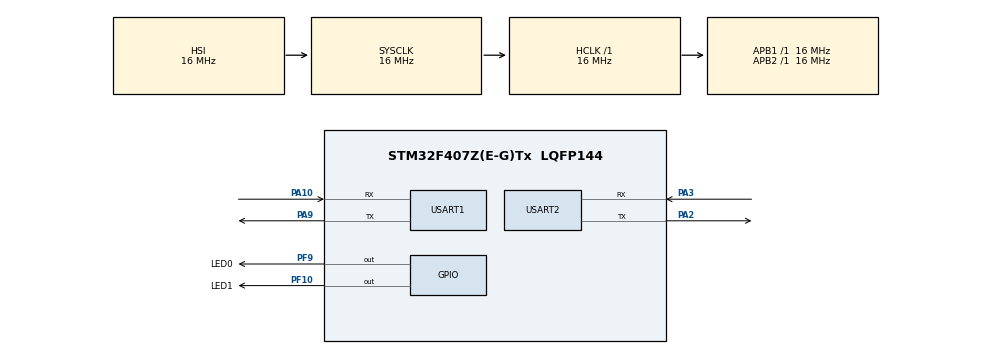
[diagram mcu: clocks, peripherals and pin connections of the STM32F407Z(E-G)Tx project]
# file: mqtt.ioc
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Dma.Request0=USART2_RX
Dma.USART2_RX.0.Direction=DMA_PERIPH_TO_MEMORY
Dma.USART2_RX.0.FIFOMode=DMA_FIFOMODE_DISABLE
Dma.USART2_RX.0.Instance=DMA1_Stream5
Dma.USART2_RX.0.MemDataAlignment=DMA_MDATAALIGN_BYTE
Dma.USART2_RX.0.MemInc=DMA_MINC_ENABLE
Dma.USART2_RX.0.Mode=DMA_NORMAL
Dma.USART2_RX.0.PeriphDataAlignment=DMA_PDATAALIGN_BYTE
Dma.USART2_RX.0.PeriphInc=DMA_PINC_DISABLE
Dma.USART2_RX.0.Priority=DMA_PRIORITY_LOW
Mcu.Family=STM32F4
Mcu.Name=STM32F407Z(E-G)Tx
Mcu.Package=LQFP144
NVIC.DMA1_Stream5_IRQn=true\:0\:0\:false\:false\:true\:false\:true
NVIC.PriorityGroup=NVIC_PRIORITYGROUP_4
NVIC.USART1_IRQn=true\:0\:0\:false\:false\:true\:true\:true
NVIC.USART2_IRQn=true\:0\:0\:false\:false\:true\:true\:true
PA10.Mode=Asynchronous
PA10.Signal=USART1_RX
PA2.Mode=Asynchronous
PA2.Signal=USART2_TX
PA3.Mode=Asynchronous
PA3.Signal=USART2_RX
PA9.Mode=Asynchronous
PA9.Signal=USART1_TX
PF10.GPIO_Label=LED1
PF10.Signal=GPIO_Output
PF9.GPIO_Label=LED0
PF9.Signal=GPIO_Output
ProjectManager.HeapSize=0x200
ProjectManager.StackSize=0x400
ProjectManager.TargetToolchain=MDK-ARM V5.27
RCC.AHBFreq_Value=16000000
RCC.APB1Freq_Value=16000000
RCC.APB2Freq_Value=16000000
RCC.CortexFreq_Value=16000000
RCC.HSE_VALUE=25000000
RCC.HSI_VALUE=16000000
RCC.LSE_VALUE=32768
RCC.SYSCLKFreq_VALUE=16000000
RCC.VCOOutputFreq_Value=192000000
USART1.VirtualMode=VM_ASYNC
USART2.VirtualMode=VM_ASYNC
board=custom

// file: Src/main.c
/* USER CODE BEGIN Header */
/**
  ******************************************************************************
  * @file           : main.c
  * @brief          : Main program body
  ******************************************************************************
  * @attention
  *
  * <h2><center>&copy; Copyright (c) 2021 STMicroelectronics.
  * All rights reserved.</center></h2>
  *
  * This software component is licensed by ST under BSD 3-Clause license,
  * the "License"; You may not use this file except in compliance with the
  * License. You may obtain a copy of the License at:
  *                        opensource.org/licenses/BSD-3-Clause
  *
  ******************************************************************************
  */
/* USER CODE END Header */

#include "main.h"
#include "dma.h"
#include "usart.h"
#include "gpio.h"

/* USER CODE BEGIN Includes */
#include "esp8266.h"
#include "string.h"
#include "mqtt.h"
/* USER CODE END Includes */

void SystemClock_Config(void);

/* USER CODE BEGIN 0 */
/*收到主题后的回调函数，用户可以在这里进行对应主题的相关操作，如开灯，光灯等*/
void mqtt_publish_callback(uint8_t *topic, uint16_t topicLen, uint8_t *msg, uint16_t msgLen)
{
	HAL_UART_Transmit(&huart1, topic, topicLen, HAL_MAX_DELAY);
	HAL_UART_Transmit(&huart1, "\r\n", 2, HAL_MAX_DELAY);
	HAL_UART_Transmit(&huart1, msg, msgLen, HAL_MAX_DELAY);
	HAL_UART_Transmit(&huart1, "\r\n", 2, HAL_MAX_DELAY);
	if(msgLen==2 && !memcmp(msg,"ON",2))
		HAL_GPIO_WritePin(LED1_GPIO_Port,LED1_Pin,GPIO_PIN_RESET);
	if(msgLen==3 && !memcmp(msg,"OFF",3))
		HAL_GPIO_WritePin(LED1_GPIO_Port,LED1_Pin,GPIO_PIN_SET);
}
void mqtt_init(mqtt_client_t *client,uint8_t* clientId,uint8_t* mqtt_write_buff)
{
	HAL_UART_Receive_DMA(&huart2,dma_buff,BUFFER_SIZE);/*鍚姩涓插彛鎺ユ敹*/
	client->mqtt_client_id = clientId;
	client->mqtt_write_buf = mqtt_write_buff;
	client->mqtt_read_buf = dma_buff;
	client->mqtt_read_buf_size = BUFFER_SIZE;
	client->mqtt_keep_alive_interval = 10;
}
/* USER CODE END 0 */

int main(void)
{
  /* USER CODE BEGIN 1 */
	/*定义MQTT客户端及相关参数*/
	mqtt_client_t mClient;
  uint8_t mqtt_write_buff[128]={0};
	uint8_t *clientId=(uint8_t *)"zhaojianchuan";
	uint32_t curTick;
  /* USER CODE END 1 */

  /* MCU Configuration--------------------------------------------------------*/

  /* Reset of all peripherals, Initializes the Flash interface and the Systick. */
  HAL_Init();

  /* Configure the system clock */
  SystemClock_Config();

  /* Initialize all configured peripherals */
  MX_GPIO_Init();
  MX_DMA_Init();
  MX_USART1_UART_Init();
  MX_USART2_UART_Init();

  /* Infinite loop */
  /* USER CODE BEGIN WHILE */

	/*设置ESP8622 WIFI模块*/
	HAL_UART_Transmit(&huart1,"init esp8266 start...\r\n",strlen("init esp8266 start...\r\n"),HAL_MAX_DELAY);
	if (!Esp8266_Init())
		HAL_UART_Transmit(&huart1,"init esp8266 ok\r\n",strlen("init esp8266 ok\r\n"),HAL_MAX_DELAY);
	else
		HAL_UART_Transmit(&huart1,"init esp8266 error\r\n",strlen("init esp8266 error\r\n"),HAL_MAX_DELAY);
	/*设置MQTT相关参数*/
	mqtt_init(&mClient,(uint8_t *)clientId,mqtt_write_buff);
	/*向服务器发送连接请求*/
	MQTT_connect(&mClient);
	HAL_Delay(100);
	/*定阅主题*/
	MQTT_subscribe(&mClient,"/zhaojc/sub",strlen("/zhaojc/sub"),0);
	curTick = HAL_GetTick();
  while (1)
  {
		MQTT_keep_alive(&mClient);//这一句一定要在while(1)中，用于定时发送PING请求以保持连接
		/*让指示灯闪烁，指示系统已进入正常工作*/
		if(curTick+1000 < HAL_GetTick()){
		  HAL_GPIO_TogglePin(LED0_GPIO_Port,LED0_Pin);
			curTick = HAL_GetTick();
		}
		/*检查串口是否有收到数据，如有，调用MQTT处理接口，进行MQTT协议处理*/
		if(dma_data_length)
		{
			//HAL_UART_Transmit(&huart1,"rcv\r\n",5,HAL_MAX_DELAY);
			HAL_UART_DMAStop(&huart2);

			/*进行MQTT协议处理，如果收到发布主题，此接口会回调mqtt_publish_callback接口，用户可以重写mqtt_publish_callback接口进相应操作*/
			mqtt_packet_handle(&mClient);
			dma_data_length = 0;
			/*开始下一次接收*/
			HAL_UART_Receive_DMA(&huart2,dma_buff,BUFFER_SIZE);
		}
    /* USER CODE END WHILE */

  }
}

void SystemClock_Config(void)
{
  RCC_OscInitTypeDef RCC_OscInitStruct = {0};
  RCC_ClkInitTypeDef RCC_ClkInitStruct = {0};

  /** Configure the main internal regulator output voltage
  */
  __HAL_RCC_PWR_CLK_ENABLE();
  __HAL_PWR_VOLTAGESCALING_CONFIG(PWR_REGULATOR_VOLTAGE_SCALE1);
  /** Initializes the CPU, AHB and APB busses clocks
  */
  RCC_OscInitStruct.OscillatorType = RCC_OSCILLATORTYPE_HSI;
  RCC_OscInitStruct.HSIState = RCC_HSI_ON;
  RCC_OscInitStruct.HSICalibrationValue = RCC_HSICALIBRATION_DEFAULT;
  RCC_OscInitStruct.PLL.PLLState = RCC_PLL_NONE;
  if (HAL_RCC_OscConfig(&RCC_OscInitStruct) != HAL_OK)
  {
    Error_Handler();
  }
  /** Initializes the CPU, AHB and APB busses clocks
  */
  RCC_ClkInitStruct.ClockType = RCC_CLOCKTYPE_HCLK|RCC_CLOCKTYPE_SYSCLK
                              |RCC_CLOCKTYPE_PCLK1|RCC_CLOCKTYPE_PCLK2;
  RCC_ClkInitStruct.SYSCLKSource = RCC_SYSCLKSOURCE_HSI;
  RCC_ClkInitStruct.AHBCLKDivider = RCC_SYSCLK_DIV1;
  RCC_ClkInitStruct.APB1CLKDivider = RCC_HCLK_DIV1;
  RCC_ClkInitStruct.APB2CLKDivider = RCC_HCLK_DIV1;

  if (HAL_RCC_ClockConfig(&RCC_ClkInitStruct, FLASH_LATENCY_0) != HAL_OK)
  {
    Error_Handler();
  }
}

void Error_Handler(void)
{
}

/************************ (C) COPYRIGHT STMicroelectronics *****END OF FILE****/
